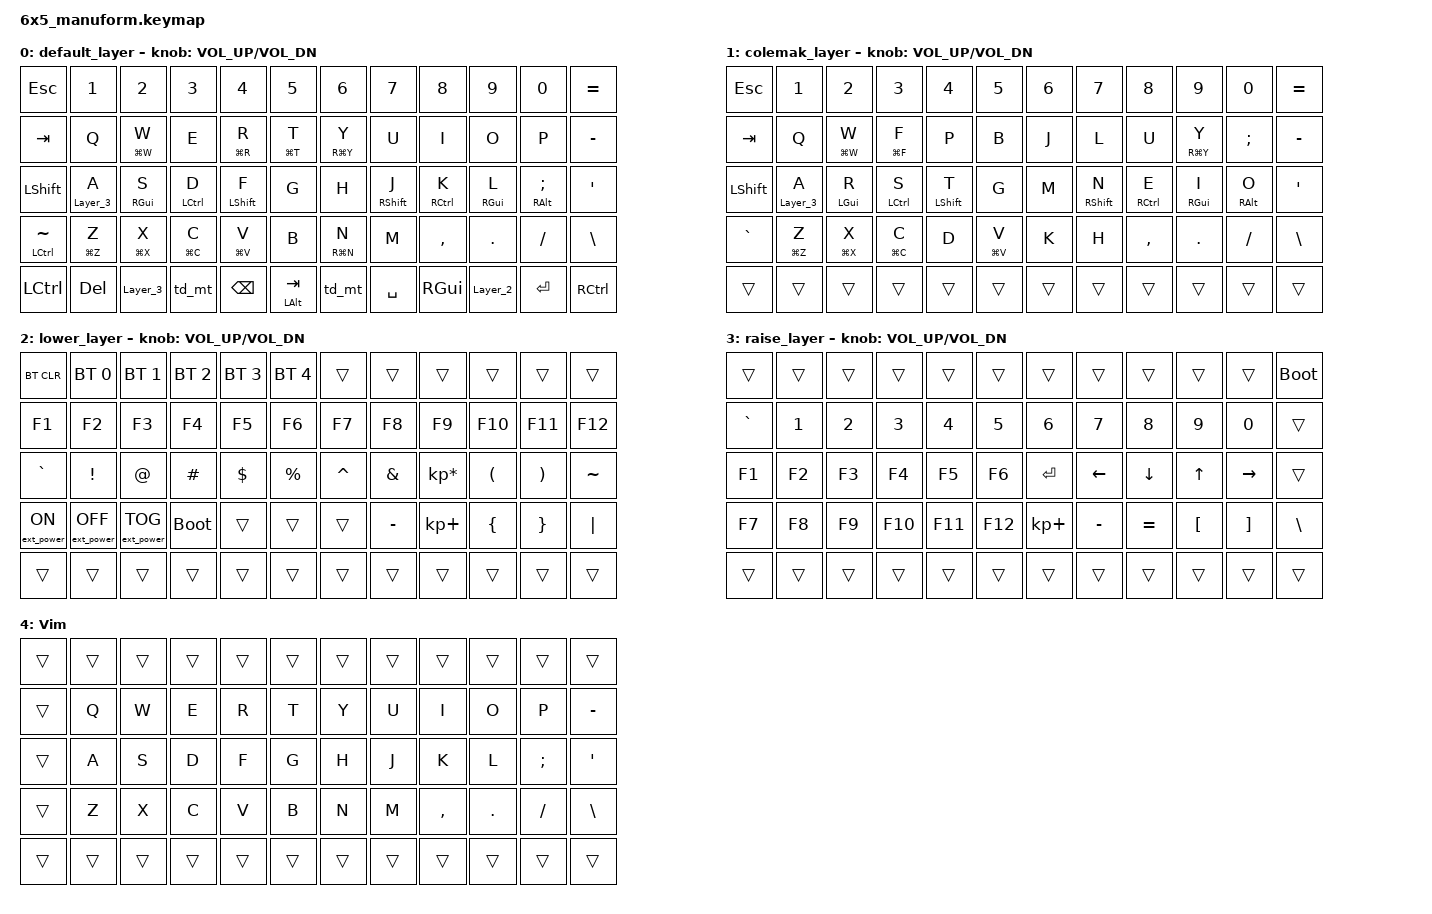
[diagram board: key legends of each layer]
/*
 * Copyright (c) 2020 The ZMK Contributors
 *
 * SPDX-License-Identifier: MIT
 */

#include <behaviors.dtsi>
#include <dt-bindings/zmk/bt.h>
#include <dt-bindings/zmk/ext_power.h>
#include <dt-bindings/zmk/keys.h>

/ {
    behaviors {
        Layer_1: Layer_1 {
            compatible = "zmk,behavior-tap-dance";
            label = "LAYER_1";
            #binding-cells = <0>;
            tapping-term-ms = <500>;
            bindings =
                <&mo 1>,
                <&tog 1>;
        };
        Layer_2: Layer_2 {
            compatible = "zmk,behavior-tap-dance";
            label = "LAYER_2";
            #binding-cells = <0>;
            tapping-term-ms = <500>;
            bindings =
                <&mo 2>,
                <&tog 2>;
        };
        Layer_3: Layer_3 {
            compatible = "zmk,behavior-tap-dance";
            label = "LAYER_3";
            #binding-cells = <0>;
            tapping-term-ms = <500>;
            bindings =
                <&mo 3>,
                <&tog 3>;
        };
        td_mt: tap_dance_mod_tap {
            compatible = "zmk,behavior-tap-dance";
            label = "TAP_DANCE_MOD_TAP";
            #binding-cells = <0>;
            tapping-term-ms = <250>;
            bindings =
                <&kp LSHIFT>,
                <&kp CAPS>;
        };
        hm: homerow_mods {
            compatible = "zmk,behavior-hold-tap";
            label = "HOMEROW_MODS";
            #binding-cells = <2>;
            tapping-term-ms = <300>;
            quick_tap_ms = <0>;
            flavor = "tap-preferred";
            bindings =
                <&kp>,
                <&kp>;

            hold-trigger-key-positions = <>;
            quick-tap-ms = <50>;
        };
        hs: homerow_shift {
            compatible = "zmk,behavior-hold-tap";
            label = "HOMEROW_SHIFT";
            #binding-cells = <2>;
            tapping-term-ms = <300>;
            quick_tap_ms = <0>;
            flavor = "balanced";
            bindings =
                <&kp>,
                <&kp>;
        };
        capsword: capsword {
            compatible = "zmk,behavior-caps-word";
            label = "CAPSWORD";
            #binding-cells = <0>;
            continue-list = <KP_MINUS>;
        };
        Layer_4: Layer_4 {
            compatible = "zmk,behavior-tap-dance";
            label = "LAYER_4";
            #binding-cells = <0>;
            bindings =
                <&tog 4>,
                <&mo 4>;

            tapping-term-ms = <500>;
        };
        hm_layer_3: hm_layer_3 {
            compatible = "zmk,behavior-hold-tap";
            label = "HM_LAYER_3";
            bindings =
                <&Layer_3>,
                <&kp>;

            #binding-cells = <2>;
            tapping-term-ms = <300>;
            flavor = "tap-preferred";
            quick-tap-ms = <50>;
        };
    };

    combos {
        compatible = "zmk,combos";

        combo_layer_1 {
            timeout-ms = <50>;
            key-positions = <50 57>;
            bindings = <&tog 1>;
            layers = <0 1 2 3>;
        };

        combo_caps_word {
            timeout-ms = <50>;
            key-positions = <51 54>;
            bindings = <&caps_word>;
            layers = <0 1 2 3>;
        };

        combo_esc {
            timeout-ms = <50>;
            key-positions = <13 14>;
            bindings = <&kp ESC>;
            layers = <0 1 2 3>;
        };

        combo_mac_menu {
            bindings = <&mac_menu>;
            key-positions = <52 55>;
        };

        combo_zmse {
            bindings = <&zmse>;
            key-positions = <37 43>;
            layers = <0>;
        };

        combo_layer_4 {
            bindings = <&Layer_4>;
            key-positions = <41 42>;
            layers = <4 0 1 2 3>;
        };

        new_combo {
            bindings = <&kp ESCAPE>;
            key-positions = <31 32>;
            layers = <0 1 2 3 4>;
        };
    };

    macros {
        mac_menu: mac_menu {
            compatible = "zmk,behavior-macro";
            label = "MAC_MENU";
            #binding-cells = <0>;
            bindings =
                <&macro_press>,
                <&kp RG(SPACE)>,
                <&macro_release>;
        };
        zmse: zmse {
            compatible = "zmk,behavior-macro";
            label = "ZMSE";
            #binding-cells = <0>;
            bindings =
                <&macro_tap>,
                <&kp Z &kp M &kp S &kp E &kp ENTER>;
        };
    };

    keymap {
        compatible = "zmk,keymap";

        default_layer {
            // ------------------------------------------------------------------------------------------------------------
            // |  ESC   |  1  |  2  |  3   |  4   |  5   |                    |  6   |  7    |  8    |  9   |   0   |   `   |
            // |  TAB   |  Q  |  W  |  E   |  R   |  T   |                    |  Y   |  U    |  I    |  O   |   P   |   -   |
            // |  CTRL  |  A  |  S  |  D   |  F   |  G   |                    |  H   |  J    |  K    |  L   |   ;   |   '   |
            // | SHIFT  |  Z  |  X  |  C   |  V   |  B   |                    |  N   |  M    |  ,    |  .   |   /   | SHIFT |
            // |    2   |  2  | f   | 6    | 4    | 1    |                    | 2    | 1     | w     | s    | n     |  a    |

            bindings = <
        &kp ESC           &kp N1       &kp N2       &kp N3         &kp N4            &kp N5       &kp N6        &kp N7       &kp N8      &kp N9              &kp N0  &kp EQUAL
        &kp TAB            &kp Q  &hm LG(W) W        &kp E    &hm LG(R) R       &hm LG(T) T  &hm RG(Y) Y         &kp U        &kp I       &kp O               &kp P  &kp MINUS
 &kp LEFT_SHIFT  &hm_layer_3 0 A   &hm RGUI S  &hm LCTRL D   &hm LSHIFT F             &kp G        &kp H  &hm RSHIFT J  &hm RCTRL K  &hm RGUI L  &hm RIGHT_ALT SEMI    &kp SQT
&hm LCTRL TILDE      &hm LG(Z) Z  &hm LG(X) X  &hm LG(C) C    &hm LG(V) V             &kp B  &hm RG(N) N         &kp M    &kp COMMA     &kp DOT            &kp FSLH   &kp BSLH
      &kp LCTRL          &kp DEL     &Layer_3       &td_mt  &kp BACKSPACE  &mt LEFT_ALT TAB       &td_mt     &kp SPACE     &kp RGUI    &Layer_2           &kp ENTER  &kp RCTRL
            >;

            sensor-bindings = <&inc_dec_kp C_VOL_UP C_VOL_DN>;
        };

        colemak_layer {
            // ------------------------------------------------------------------------------------------------------------
            // |  ESC   |  1  |  2  |  3   |  4   |  5   |                    |  6   |  7    |  8    |  9   |   0   |   `   |
            // |  TAB   |  Q  |  W  |  E   |  R   |  T   |                    |  Y   |  U    |  I    |  O   |   P   |   -   |
            // |  CTRL  |  A  |  S  |  D   |  F   |  G   |                    |  H   |  J    |  K    |  L   |   ;   |   '   |
            // | SHIFT  |  Z  |  X  |  C   |  V   |  B   |                    |  N   |  M    |  ,    |  .   |   /   | SHIFT |
            // |    2   |  2  | f   | 6    | 4    | 1    |                    | 2    | 1     | w     | s    | n     |  a    |

            bindings = <
  &kp ESC     &kp NUMBER_1          &kp N2       &kp N3        &kp N4       &kp N5  &kp N6        &kp N7       &kp N8       &kp N9           &kp N0  &kp EQUAL
  &kp TAB            &kp Q     &hm LG(W) W  &hm LG(F) F         &kp P        &kp B   &kp J         &kp L        &kp U  &hm RG(Y) Y         &kp SEMI  &kp MINUS
&kp LSHFT  &hm_layer_3 0 A  &hm LEFT_GUI R  &hm LCTRL S  &hm LSHIFT T        &kp G   &kp M  &hm RSHIFT N  &hm RCTRL E   &hm RGUI I  &hm RIGHT_ALT O    &kp SQT
&kp GRAVE      &hm LG(Z) Z     &hm LG(X) X  &hm LG(C) C         &kp D  &hm LG(V) V   &kp K         &kp H    &kp COMMA      &kp DOT         &kp FSLH   &kp BSLH
   &trans           &trans          &trans       &trans        &trans       &trans  &trans        &trans       &trans       &trans           &trans     &trans
            >;

            sensor-bindings = <&inc_dec_kp C_VOL_UP C_VOL_DN>;
        };

        lower_layer {
            // ------------------------------------------------------------------------------------------------------------
            // | BTCLR | BT1 | BT2 |  BT3 |  BT4 |  BT5 |                   |      |       |       |      |       |       |
            // |  F1   |  F2 |  F3 |  F4  |  F5  |  F6  |                   |  F7  |  F8   |  F9   |  F10 |  F11  |  F12  |
            // |   `   |  !  |  @  |  #   |  $   |  %   |                   |  ^   |  &    |  *    |  (   |   )   |   ~   |
            // |       |     |     |      |      |      |                   |      |  _    |  +    |  {   |   }   |  "|"  |
            // |       |     |     |      |      |      |                   |      |       |       |      |       |       |

            bindings = <
      &bt BT_CLR       &bt BT_SEL 0       &bt BT_SEL 1  &bt BT_SEL 2  &bt BT_SEL 3  &bt BT_SEL 4     &trans     &trans           &trans    &trans    &trans     &trans
          &kp F1             &kp F2             &kp F3        &kp F4        &kp F5        &kp F6     &kp F7     &kp F8           &kp F9   &kp F10   &kp F11    &kp F12
       &kp GRAVE           &kp EXCL             &kp AT      &kp HASH    &kp DOLLAR     &kp PRCNT  &kp CARET   &kp AMPS  &kp KP_MULTIPLY  &kp LPAR  &kp RPAR  &kp TILDE
&ext_power EP_ON  &ext_power EP_OFF  &ext_power EP_TOG   &bootloader        &trans        &trans     &trans  &kp MINUS      &kp KP_PLUS  &kp LBRC  &kp RBRC   &kp PIPE
          &trans             &trans             &trans        &trans        &trans        &trans     &trans     &trans           &trans    &trans    &trans     &trans
            >;

            sensor-bindings = <&inc_dec_kp C_VOL_UP C_VOL_DN>;
        };

        raise_layer {
            // ------------------------------------------------------------------------------------------------------------
            // |       |     |     |      |      |      |                   |      |       |       |      |       |       |
            // |   `   |  1  |  2  |  3   |  4   |  5   |                   |  6   |   7   |   8   |  9   |   0   |       |
            // |   F1  |  F2 |  F3 |  F4  |  F5  |  F6  |                   |      |   <-  |   v   |  ^   |  ->   |       |
            // |   F7  |  F8 |  F9 |  F10 |  F11 |  F12 |		             |  +   |   -   |   =   |  [   |   ]   |   \   |
            // |     |     |      |      |      |        |                   |       |      |       |       |      |       |

            bindings = <
   &trans  &trans  &trans   &trans   &trans   &trans       &trans     &trans     &trans        &trans     &trans  &bootloader
&kp GRAVE  &kp N1  &kp N2   &kp N3   &kp N4   &kp N5       &kp N6     &kp N7     &kp N8        &kp N9     &kp N0       &trans
   &kp F1  &kp F2  &kp F3   &kp F4   &kp F5   &kp F6      &kp RET   &kp LEFT   &kp DOWN  &kp UP_ARROW  &kp RIGHT       &trans
   &kp F7  &kp F8  &kp F9  &kp F10  &kp F11  &kp F12  &kp KP_PLUS  &kp MINUS  &kp EQUAL      &kp LBKT   &kp RBKT     &kp BSLH
   &trans  &trans  &trans   &trans   &trans   &trans       &trans     &trans     &trans        &trans     &trans       &trans
            >;

            sensor-bindings = <&inc_dec_kp C_VOL_UP C_VOL_DN>;
        };

        Vim {
            bindings = <
&trans  &trans  &trans  &trans  &trans  &trans  &trans  &trans     &trans   &trans    &trans     &trans
&trans   &kp Q   &kp W   &kp E   &kp R   &kp T   &kp Y   &kp U      &kp I    &kp O     &kp P  &kp MINUS
&trans   &kp A   &kp S   &kp D   &kp F   &kp G   &kp H   &kp J      &kp K    &kp L  &kp SEMI    &kp SQT
&trans   &kp Z   &kp X   &kp C   &kp V   &kp B   &kp N   &kp M  &kp COMMA  &kp DOT  &kp FSLH   &kp BSLH
&trans  &trans  &trans  &trans  &trans  &trans  &trans  &trans     &trans   &trans    &trans     &trans
            >;
        };
    };
};
